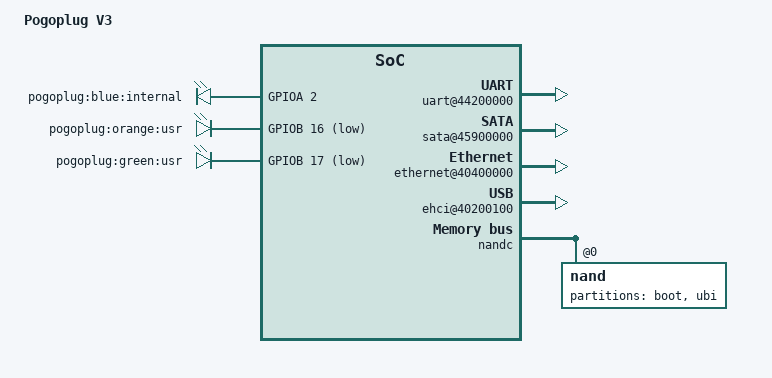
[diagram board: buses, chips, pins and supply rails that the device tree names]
/*
 * Copyright (C) 2014 Daniel Golle <daniel@makrotopia.org>
 * Copyright (C) 2013 Ma Haijun <mahaijuns@gmail.com>
 *
 * This program is free software; you can redistribute it and/or modify
 * it under the terms of the GNU General Public License version 2 as
 * published by the Free Software Foundation.
 */

/dts-v1/;
#include "ox820.dtsi"

/ {
	model = "Pogoplug V3";

	chosen {
		bootargs = "console=ttyS0,115200n8 earlyprintk=serial";
	};

	uart@44200000 {
		status = "okay";
	};

	sata@45900000 {
		status = "okay";
	};

	ethernet@40400000 {
		status = "okay";
	};

	ehci@40200100 {
		status = "okay";
	};

	pinctrl {
		leds {
			pinctrl_leds: leds-0 {
				plxtech,pins =
					<0 2 0 0	/* MF_A2 */
					 1 16 0 0	/* MF_B16 */
					 1 17 0 0>;	/* MF_B17 */
			};
		};
	};

	leds {
		compatible = "gpio-leds";
		pinctrl-names = "default";
		pinctrl-0 = <&pinctrl_leds>;

		blue {
			label = "pogoplug:blue:internal";
			gpios = <&GPIOA 2 0>;
		};

		orange {
			label = "pogoplug:orange:usr";
			gpios = <&GPIOB 16 1>;
		};

		green {
			label = "pogoplug:green:usr";
			gpios = <&GPIOB 17 1>;
		};
	};

};

&nandc {
	status = "okay";

	nand@0 {
		reg = <0>;
		#address-cells = <1>;
		#size-cells = <1>;
		nand-ecc-mode = "soft";
		nand-ecc-algo = "hamming";

		partition@0 {
			label = "boot";
			reg = <0x00000000 0x00e00000>;
			/*read-only;*/
		};

		partition@e00000 {
			label = "ubi";
			reg = <0x00e00000 0x07200000>;
		};
	};
};
